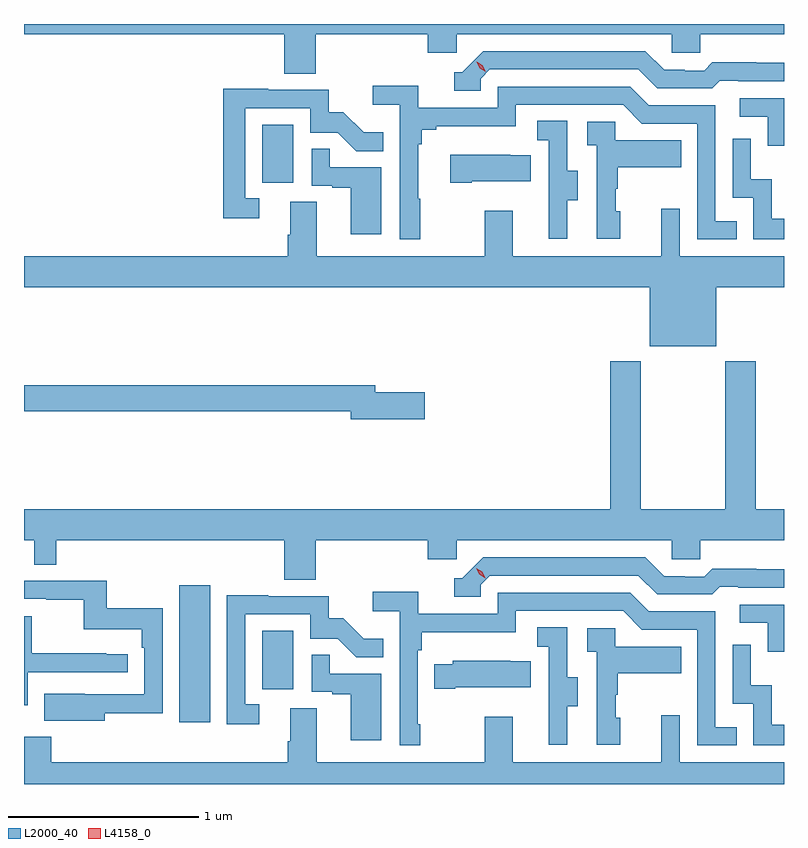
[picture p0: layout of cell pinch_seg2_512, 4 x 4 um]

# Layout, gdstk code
import gdstk
lib = gdstk.Library(unit=1e-6, precision=1e-09)
def R(c, l, rs):  # rectangles x0, y0, x1, y1
    for r in rs: c.add(gdstk.rectangle(r[:2], r[2:], *l))
def P(c, l, *ps):  # polygons
    for p in ps: c.add(gdstk.Polygon(p, *l))
L2000_40 = (2000, 40)
L4158_0 = (4158, 0)

pinch_seg2_512 = lib.new_cell('pinch_seg2_512')
R(pinch_seg2_512, L2000_40, [(951.653,588.072,951.814,588.793), (952.088,588.246,952.252,588.553), (952.088,590.91,952.252,591.217)])
P(pinch_seg2_512, L2000_40, [(952.37,591.692),(952.961,591.692),(952.961,591.594),(953.112,591.594),(953.112,591.692),(954.243,591.692),(954.243,591.594),(954.393,591.594),(954.393,591.692),(954.835,591.692),(954.835,591.746),(950.835,591.746),(950.835,591.692),(952.205,591.692),(952.205,591.484),(952.37,591.484)],
  [(953.238,591.459),(953.286,591.507),(954.069,591.507),(954.168,591.408),(954.457,591.408),(954.496,591.447),(954.595,591.447),(954.595,591.444),(954.835,591.444),(954.835,591.541),(954.69,591.541),(954.69,591.544),(954.457,591.544),(954.415,591.501),(954.312,591.501),(954.312,591.504),(954.205,591.504),(954.106,591.603),(953.253,591.603),(953.142,591.492),(953.099,591.492),(953.099,591.396),(953.238,591.396)],
  [(952.921,590.825),(952.909,590.825),(952.909,591.113),(952.928,591.113),(952.928,591.19),(953.005,591.19),(953.005,591.209),(953.424,591.209),(953.424,591.321),(953.988,591.321),(954.087,591.222),(954.378,591.222),(954.378,590.613),(954.587,590.613),(954.587,590.709),(954.474,590.709),(954.474,591.318),(954.124,591.318),(954.025,591.417),(953.328,591.417),(953.328,591.306),(952.91,591.306),(952.91,591.422),(952.671,591.422),(952.671,591.32),(952.812,591.32),(952.812,590.613),(952.921,590.613)],
  [(952.072,590.829),(951.999,590.829),(951.999,591.303),(952.341,591.303),(952.341,591.174),(952.485,591.174),(952.583,591.076),(952.727,591.076),(952.727,591.175),(952.623,591.175),(952.516,591.282),(952.44,591.282),(952.44,591.399),(952.121,591.399),(952.121,591.404),(951.883,591.404),(951.883,590.724),(952.072,590.724)],
  [(954.835,591.354),(954.603,591.354),(954.603,591.258),(954.75,591.258),(954.75,591.105),(954.835,591.105)],
  [(953.695,590.818),(953.749,590.818),(953.749,590.973),(953.694,590.973),(953.694,591.236),(953.535,591.236),(953.535,591.133),(953.598,591.133),(953.598,590.829),(953.597,590.829),(953.597,590.616),(953.695,590.616)],
  [(953.974,590.76),(953.949,590.76),(953.949,590.879),(953.959,590.879),(953.959,590.993),(954.293,590.993),(954.293,591.133),(953.946,591.133),(953.946,591.231),(953.799,591.231),(953.799,591.107),(953.85,591.107),(953.85,590.616),(953.974,590.616)],
  [(954.835,590.722),(954.77,590.722),(954.77,590.93),(954.66,590.93),(954.66,591.142),(954.564,591.142),(954.564,590.832),(954.672,590.832),(954.672,590.613),(954.835,590.613)],
  [(952.714,590.991),(952.445,590.991),(952.445,591.089),(952.35,591.089),(952.35,590.895),(952.457,590.895),(952.457,590.883),(952.556,590.883),(952.556,590.64),(952.714,590.64)],
  [(953.191,590.918),(953.501,590.918),(953.501,591.055),(953.393,591.055),(953.393,591.058),(953.079,591.058),(953.079,590.911),(953.191,590.911)],
  [(954.478,590.36),(954.835,590.36),(954.835,590.524),(954.285,590.524),(954.285,590.773),(954.188,590.773),(954.188,590.524),(953.407,590.524),(953.407,590.764),(953.26,590.764),(953.26,590.524),(952.375,590.524),(952.375,590.81),(952.235,590.81),(952.235,590.636),(952.223,590.636),(952.223,590.524),(950.835,590.524),(950.835,590.36),(954.128,590.36),(954.128,590.051),(954.478,590.051)],
  [(952.37,589.028),(952.961,589.028),(952.961,588.93),(953.112,588.93),(953.112,589.028),(954.243,589.028),(954.243,588.93),(954.393,588.93),(954.393,589.028),(954.835,589.028),(954.835,589.192),(954.686,589.192),(954.686,589.972),(954.526,589.972),(954.526,589.192),(954.081,589.192),(954.081,589.972),(953.921,589.972),(953.921,589.192),(950.835,589.192),(950.835,589.028),(950.889,589.028),(950.889,588.901),(951.005,588.901),(951.005,589.028),(952.205,589.028),(952.205,588.82),(952.37,588.82)],
  [(952.945,589.808),(952.684,589.808),(952.684,589.844),(950.835,589.844),(950.835,589.708),(952.556,589.708),(952.556,589.666),(952.945,589.666)],
  [(953.238,588.795),(953.286,588.843),(954.069,588.843),(954.168,588.744),(954.457,588.744),(954.496,588.783),(954.595,588.783),(954.595,588.78),(954.835,588.78),(954.835,588.877),(954.69,588.877),(954.69,588.88),(954.457,588.88),(954.415,588.837),(954.312,588.837),(954.312,588.84),(954.205,588.84),(954.106,588.939),(953.253,588.939),(953.142,588.828),(953.099,588.828),(953.099,588.732),(953.238,588.732)],
  [(951.259,588.118),(951.564,588.118),(951.564,588.67),(951.271,588.67),(951.271,588.816),(950.835,588.816),(950.835,588.72),(950.953,588.72),(950.953,588.715),(951.15,588.715),(951.15,588.56),(951.455,588.56),(951.455,588.464),(951.468,588.464),(951.468,588.219),(951.155,588.219),(951.155,588.22),(950.941,588.22),(950.941,588.08),(951.259,588.08)],
  [(952.921,588.061),(952.908,588.061),(952.908,588.449),(952.928,588.449),(952.928,588.545),(953.424,588.545),(953.424,588.657),(953.988,588.657),(954.087,588.558),(954.378,588.558),(954.378,587.949),(954.587,587.949),(954.587,588.045),(954.474,588.045),(954.474,588.654),(954.124,588.654),(954.025,588.753),(953.328,588.753),(953.328,588.642),(952.91,588.642),(952.91,588.758),(952.671,588.758),(952.671,588.656),(952.812,588.656),(952.812,587.949),(952.921,587.949)],
  [(952.072,588.165),(951.999,588.165),(951.999,588.639),(952.341,588.639),(952.341,588.51),(952.485,588.51),(952.583,588.412),(952.727,588.412),(952.727,588.511),(952.623,588.511),(952.516,588.618),(952.44,588.618),(952.44,588.735),(952.121,588.735),(952.121,588.74),(951.903,588.74),(951.903,588.06),(952.072,588.06)],
  [(954.835,588.69),(954.603,588.69),(954.603,588.594),(954.75,588.594),(954.75,588.441),(954.835,588.441)],
  [(950.856,588.333),(951.382,588.333),(951.382,588.429),(951.269,588.429),(951.269,588.434),(950.876,588.434),(950.876,588.63),(950.835,588.63),(950.835,588.161),(950.856,588.161)],
  [(953.695,588.154),(953.749,588.154),(953.749,588.309),(953.694,588.309),(953.694,588.572),(953.535,588.572),(953.535,588.469),(953.598,588.469),(953.598,588.165),(953.597,588.165),(953.597,587.952),(953.695,587.952)],
  [(953.974,588.096),(953.949,588.096),(953.949,588.215),(953.959,588.215),(953.959,588.329),(954.293,588.329),(954.293,588.469),(953.946,588.469),(953.946,588.567),(953.799,588.567),(953.799,588.443),(953.85,588.443),(953.85,587.952),(953.974,587.952)],
  [(954.835,588.058),(954.77,588.058),(954.77,588.266),(954.66,588.266),(954.66,588.478),(954.564,588.478),(954.564,588.168),(954.672,588.168),(954.672,587.949),(954.835,587.949)],
  [(952.714,588.327),(952.445,588.327),(952.445,588.425),(952.35,588.425),(952.35,588.231),(952.457,588.231),(952.457,588.219),(952.556,588.219),(952.556,587.976),(952.714,587.976)],
  [(953.104,588.254),(953.501,588.254),(953.501,588.391),(953.393,588.391),(953.393,588.394),(953.091,588.394),(953.091,588.376),(952.993,588.376),(952.993,588.247),(953.104,588.247)],
  [(954.835,587.86),(954.285,587.86),(954.285,588.109),(954.188,588.109),(954.188,587.86),(953.407,587.86),(953.407,588.1),(953.26,588.1),(953.26,587.86),(952.375,587.86),(952.375,588.146),(952.235,588.146),(952.235,587.972),(952.223,587.972),(952.223,587.86),(950.978,587.86),(950.978,587.995),(950.835,587.995),(950.835,587.746),(954.835,587.746)])
P(pinch_seg2_512, L4158_0, [(953.264,591.495),(953.233,591.514),(953.217,591.547),(953.217,591.547),(953.217,591.547),(953.248,591.528),(953.264,591.495),(953.264,591.495)],
  [(953.263,588.83),(953.232,588.849),(953.215,588.881),(953.215,588.882),(953.216,588.882),(953.246,588.862),(953.263,588.83),(953.263,588.83)])

lib.write_gds('pinch_seg2_512.gds')
